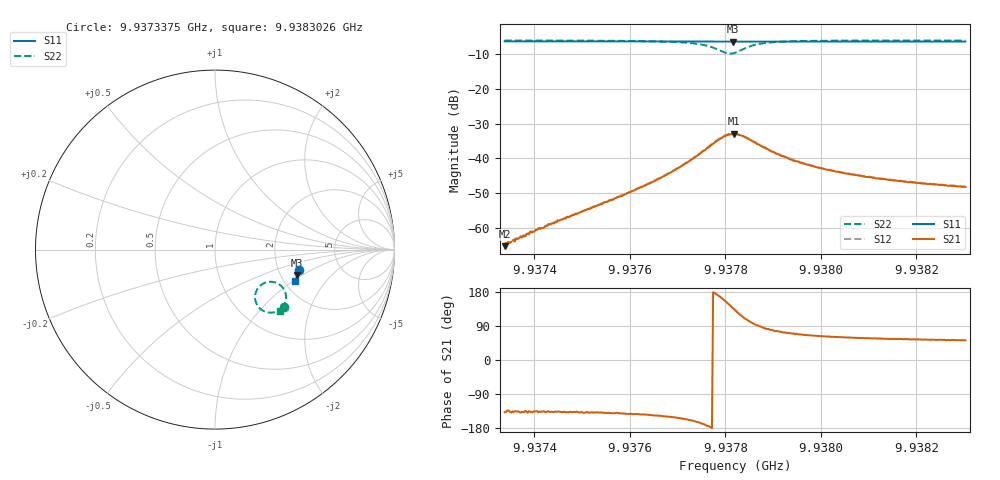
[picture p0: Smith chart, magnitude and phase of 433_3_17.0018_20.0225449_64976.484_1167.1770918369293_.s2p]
#  HZ  S  RI  R  50.00
! Rohde & Schwarz Vector Network Analyzer
! Rohde-Schwarz,ZNB20-2Port,1311601062101988,3.16
! Created: UTC 3/20/2024, 11:11:27 PM
! freq[Hz]  re:S11  im:S11  re:S21  im:S21  re:S12  im:S12  re:S22  im:S22
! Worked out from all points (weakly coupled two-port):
!   401 points, 9.9373375 GHz to 9.9383026 GHz, reference 50 ohm
!   highest |S21| = -32.96 dB at 9.9378176 GHz (marker M1); lowest = -65.4 dB at 9.9373375 GHz (marker M2)
!   lowest |S11| = -6.4 dB at 9.9378152 GHz (marker M3), VSWR 2.84, Z = 123 - j44.9 ohm
!   |S11| at or under -10 dB: nowhere
!   |S22| runs from -9.9 to -6.1 dB; largest |S21 - S12| = 0.00096
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9.93733747e9  0.4706 -0.111  -0.000401 -0.000362  -0.000439 -0.00036  0.3818 -0.3191
9.93740503e9  0.4691 -0.1156  -0.000659 -0.000666  -0.000698 -0.000613  0.3763 -0.3244
9.93744847e9  0.4682 -0.1185  -0.000901 -0.00086  -0.000933 -0.000893  0.3721 -0.3275
9.93749914e9  0.4672 -0.1218  -0.00125 -0.00114  -0.00126 -0.00112  0.3667 -0.332
9.937586e9  0.465 -0.1275  -0.00229 -0.00185  -0.00238 -0.0018  0.3531 -0.3406
9.9376608e9  0.4631 -0.1328  -0.00425 -0.00279  -0.00438 -0.00275  0.333 -0.3484
9.93770423e9  0.4619 -0.1357  -0.00665 -0.00332  -0.0068 -0.00326  0.311 -0.3517
9.93775732e9  0.4598 -0.1392  -0.0129 -0.00214  -0.0134 -0.002  0.2595 -0.3357
9.93777421e9  0.4589 -0.14  -0.0163 0.000364  -0.0166 0.000596  0.237 -0.3124
9.9377911e9  0.4583 -0.1405  -0.0188 0.00525  -0.0191 0.00579  0.2231 -0.2702
9.93780558e9  0.4576 -0.1407  -0.0185 0.0112  -0.0187 0.012  0.2338 -0.2231
9.93781523e9  0.4575 -0.141  -0.0162 0.0152  -0.0161 0.0159  0.2569 -0.1966
9.93781764e9  0.4577 -0.141  -0.0158 0.016  -0.0155 0.0167  0.2643 -0.1917
9.93782005e9  0.4577 -0.141  -0.0148 0.0167  -0.0145 0.0174  0.2719 -0.1876
9.93783936e9  0.4581 -0.1418  -0.0072 0.0191  -0.0069 0.0195  0.3329 -0.1821
9.93787072e9  0.4583 -0.144  0.000142 0.0157  0.000604 0.0157  0.3843 -0.2219
9.93790209e9  0.4578 -0.1464  0.0028 0.0119  0.00283 0.0118  0.3954 -0.2561
9.93793829e9  0.4572 -0.1491  0.00326 0.00898  0.0035 0.00914  0.395 -0.2803
9.93798172e9  0.4561 -0.1521  0.00332 0.00701  0.00352 0.00699  0.3903 -0.2982
9.93804687e9  0.4543 -0.1566  0.00309 0.00531  0.0032 0.00532  0.3828 -0.3139
9.93814338e9  0.4517 -0.1628  0.00275 0.00403  0.00284 0.00406  0.3733 -0.3276
9.93830263e9  0.4473 -0.173  0.00237 0.00303  0.00246 0.00306  0.3609 -0.3421
